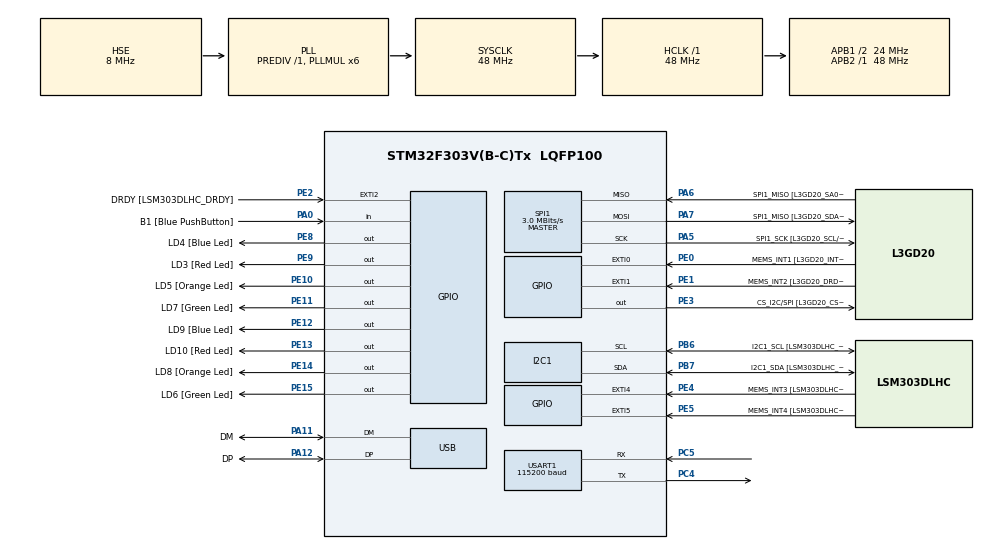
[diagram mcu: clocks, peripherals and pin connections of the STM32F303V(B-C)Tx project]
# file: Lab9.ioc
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I2C1.Timing=0x00201D2B
I2C1.Timing-I2C=0x2000090E
Mcu.Family=STM32F3
Mcu.Name=STM32F303V(B-C)Tx
Mcu.Package=LQFP100
NVIC.PriorityGroup=NVIC_PRIORITYGROUP_0
PA0.GPIO_Label=B1 [Blue PushButton]
PA0.Signal=GPIO_Input
PA11.GPIO_Label=DM
PA11.Mode=Device
PA11.Signal=USB_DM
PA12.GPIO_Label=DP
PA12.Mode=Device
PA12.Signal=USB_DP
PA13.GPIO_Label=SWDIO
PA13.Mode=Serial_Wire
PA13.Signal=SYS_JTMS-SWDIO
PA14.GPIO_Label=SWCLK
PA14.Mode=Serial_Wire
PA14.Signal=SYS_JTCK-SWCLK
PA5.GPIO_Label=SPI1_SCK [L3GD20_SCL/SPC]
PA5.Mode=Full_Duplex_Master
PA5.Signal=SPI1_SCK
PA6.GPIO_Label=SPI1_MISO [L3GD20_SA0/SDO]
PA6.Mode=Full_Duplex_Master
PA6.Signal=SPI1_MISO
PA7.GPIO_Label=SPI1_MISO [L3GD20_SDA/SDI/SDO]
PA7.Mode=Full_Duplex_Master
PA7.Signal=SPI1_MOSI
PB3.GPIO_Label=SWO
PB3.Signal=SYS_JTDO-TRACESWO
PB6.GPIO_Label=I2C1_SCL [LSM303DLHC_SCL]
PB6.GPIO_Pu=GPIO_PULLUP
PB6.Mode=I2C
PB6.Signal=I2C1_SCL
PB7.GPIO_Label=I2C1_SDA [LSM303DLHC_SDA]
PB7.GPIO_Pu=GPIO_PULLUP
PB7.Mode=I2C
PB7.Signal=I2C1_SDA
PC14-OSC32_IN.GPIO_Label=OSC32_IN
PC14-OSC32_IN.Signal=RCC_OSC32_IN
PC15-OSC32_OUT.GPIO_Label=OSC32_OUT
PC15-OSC32_OUT.Signal=RCC_OSC32_OUT
PC4.Mode=Asynchronous
PC4.Signal=USART1_TX
PC5.Mode=Asynchronous
PC5.Signal=USART1_RX
PE0.GPIO_Label=MEMS_INT1 [L3GD20_INT1]
PE0.GPIO_ModeDefaultEXTI=GPIO_MODE_EVT_RISING
PE0.Signal=GPXTI0
PE1.GPIO_Label=MEMS_INT2 [L3GD20_DRDY/INT2]
PE1.GPIO_ModeDefaultEXTI=GPIO_MODE_EVT_RISING
PE1.Signal=GPXTI1
PE10.GPIO_Label=LD5 [Orange Led]
PE10.Signal=GPIO_Output
PE11.GPIO_Label=LD7 [Green Led]
PE11.Signal=GPIO_Output
PE12.GPIO_Label=LD9 [Blue Led]
PE12.Signal=GPIO_Output
PE13.GPIO_Label=LD10 [Red Led]
PE13.Signal=GPIO_Output
PE14.GPIO_Label=LD8 [Orange Led]
PE14.Signal=GPIO_Output
PE15.GPIO_Label=LD6 [Green Led]
PE15.Signal=GPIO_Output
PE2.GPIO_Label=DRDY [LSM303DLHC_DRDY]
PE2.GPIO_ModeDefaultEXTI=GPIO_MODE_EVT_RISING
PE2.Signal=GPXTI2
PE3.GPIO_Label=CS_I2C/SPI [L3GD20_CS_I2C/SPI]
PE3.Signal=GPIO_Output
PE4.GPIO_Label=MEMS_INT3 [LSM303DLHC_INT1]
PE4.GPIO_ModeDefaultEXTI=GPIO_MODE_EVT_RISING
PE4.Signal=GPXTI4
PE5.GPIO_Label=MEMS_INT4 [LSM303DLHC_INT2]
PE5.GPIO_ModeDefaultEXTI=GPIO_MODE_EVT_RISING
PE5.Signal=GPXTI5
PE8.GPIO_Label=LD4 [Blue Led]
PE8.Signal=GPIO_Output
PE9.GPIO_Label=LD3 [Red Led]
PE9.Signal=GPIO_Output
PF0-OSC_IN.GPIO_Label=OSC_IN
PF0-OSC_IN.Mode=HSE-External-Clock-Source
PF0-OSC_IN.Signal=RCC_OSC_IN
PF1-OSC_OUT.GPIO_Label=OSC_OUT
PF1-OSC_OUT.Signal=RCC_OSC_OUT
ProjectManager.HeapSize=0x200
ProjectManager.StackSize=0x400
ProjectManager.TargetToolchain=CMake
RCC.AHBFreq_Value=48000000
RCC.APB1CLKDivider=RCC_HCLK_DIV2
RCC.APB1Freq_Value=24000000
RCC.APB1TimFreq_Value=48000000
RCC.APB2Freq_Value=48000000
RCC.APB2TimFreq_Value=48000000
RCC.CortexFreq_Value=48000000
RCC.HCLKFreq_Value=48000000
RCC.HSE_VALUE=8000000
RCC.HSI_VALUE=8000000
RCC.LSE_VALUE=32768
RCC.PLLMUL=RCC_PLL_MUL6
RCC.SYSCLKFreq_VALUE=48000000
RCC.SYSCLKSourceVirtual=RCC_SYSCLKSOURCE_PLLCLK
RCC.USBFreq_Value=48000000
SPI1.BaudRatePrescaler=SPI_BAUDRATEPRESCALER_16
SPI1.BaudRatePrescaler-Full_Duplex_Master=SPI_BAUDRATEPRESCALER_2
SPI1.CLKPhase=SPI_PHASE_2EDGE
SPI1.CLKPolarity=SPI_POLARITY_HIGH
SPI1.CalculateBaudRate=3.0 MBits/s
SPI1.CalculateBaudRate-Full_Duplex_Master=24.0 MBits/s
SPI1.DataSize=SPI_DATASIZE_8BIT
SPI1.Direction=SPI_DIRECTION_2LINES
SPI1.Mode=SPI_MODE_MASTER
SPI1.Mode-Full_Duplex_Master=SPI_MODE_MASTER
SPI1.VirtualType=VM_MASTER
USART1.BaudRate=115200
USART1.VirtualMode-Asynchronous=VM_ASYNC
board=STM32F3DISCOVERY

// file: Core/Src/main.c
/* USER CODE BEGIN Header */
/**
  ******************************************************************************
  * @file           : main.c
  * @brief          : Main program body
  ******************************************************************************
  * @attention
  *
  * Copyright (c) 2026 STMicroelectronics.
  * All rights reserved.
  *
  * This software is licensed under terms that can be found in the LICENSE file
  * in the root directory of this software component.
  * If no LICENSE file comes with this software, it is provided AS-IS.
  *
  ******************************************************************************
  */
/* USER CODE END Header */
#include "main.h"
#include <stdint.h>
#include <sys/types.h>
#include <stdio.h>

I2C_HandleTypeDef hi2c1;

SPI_HandleTypeDef hspi1;

UART_HandleTypeDef huart1;

PCD_HandleTypeDef hpcd_USB_FS;
uint16_t raw[3];
float acc[3];
float offset[3];

void SystemClock_Config(void);
static void MX_GPIO_Init(void);
static void MX_I2C1_Init(void);
static void MX_SPI1_Init(void);
static void MX_USART1_UART_Init(void);
static void MX_USB_PCD_Init(void);
/* USER CODE BEGIN PFP */
void gyro_init(void);
void gyro_set_ctrl_reg4(void);
/* USER CODE END PFP */

/* USER CODE BEGIN 0 */
float RAD_TO_DEG(float x) { return x * 57.2958f; }

/* Gyroscope SPI reader function */
void reader(uint8_t tx, uint8_t *rx) {
    HAL_GPIO_WritePin(GPIOE, GPIO_PIN_3, GPIO_PIN_RESET);
    HAL_SPI_Transmit(&hspi1, &tx, 1, HAL_MAX_DELAY);
    HAL_SPI_Receive(&hspi1, rx, 1, HAL_MAX_DELAY);
    HAL_GPIO_WritePin(GPIOE, GPIO_PIN_3, GPIO_PIN_SET);
}

/* Gyroscope control register defines */
#define CTRL_REG1 0x20
#define CTRL_REG1_VAL 0b00001111  /* PD=1 (Power on), Xen/Yen/Zen enabled */

/* Gyroscope initialization */
void gyro_init(void) {
  uint8_t tx[2] = { CTRL_REG1, CTRL_REG1_VAL };
  HAL_GPIO_WritePin(GPIOE, GPIO_PIN_3, GPIO_PIN_RESET);
  HAL_SPI_Transmit(&hspi1, tx, 2, HAL_MAX_DELAY);
  HAL_GPIO_WritePin(GPIOE, GPIO_PIN_3, GPIO_PIN_SET);
}

#define CTRL_REG4 0x23
#define CTRL_REG4_VAL 0b00000000  /* FS[1:0] = 00 => +/- 245 dps */

/* Set gyroscope control register 4 */
void gyro_set_ctrl_reg4(void) {
  uint8_t tx[2] = { CTRL_REG4, CTRL_REG4_VAL };
  HAL_GPIO_WritePin(GPIOE, GPIO_PIN_3, GPIO_PIN_RESET);
  HAL_SPI_Transmit(&hspi1, tx, 2, HAL_MAX_DELAY);
  HAL_GPIO_WritePin(GPIOE, GPIO_PIN_3, GPIO_PIN_SET);
}

/* Convert two 8-bit values to 16-bit with read bit */
uint16_t read_16bit(uint8_t OUT_X_H, uint8_t OUT_X_L) {
  return (OUT_X_H << 8) | OUT_X_L | 0x8000;
}

void Init_LSM() {
  uint8_t a = 0x67;
  uint8_t b = 0x00;
  HAL_I2C_Mem_Write(&hi2c1, 0x32, 0x20, 1, &a, 1, HAL_MAX_DELAY);
  HAL_I2C_Mem_Write(&hi2c1, 0x32, 0x23, 1, &b, 1, HAL_MAX_DELAY);
}

void Read_LSM() {
  // high[0] = xh, high[1] = yh, high[2] = zh
  // low[0] = xl, low[1] = yl, low[2] = zl
  uint8_t high[3];
  uint8_t low[3];
  HAL_I2C_Mem_Read(&hi2c1, 0x33, 0x29, 1, &high[0], 1, HAL_MAX_DELAY);
  HAL_I2C_Mem_Read(&hi2c1, 0x33, 0x28, 1, &low[0], 1, HAL_MAX_DELAY);
  HAL_I2C_Mem_Read(&hi2c1, 0x33, 0x2B, 1, &high[1], 1, HAL_MAX_DELAY);
  HAL_I2C_Mem_Read(&hi2c1, 0x33, 0x2A, 1, &low[1], 1, HAL_MAX_DELAY);
  HAL_I2C_Mem_Read(&hi2c1, 0x33, 0x2D, 1, &high[2], 1, HAL_MAX_DELAY);
  HAL_I2C_Mem_Read(&hi2c1, 0x33, 0x2C, 1, &low[2], 1, HAL_MAX_DELAY);
  raw[0] = (int16_t)(high[0] << 8) | low[0];
  raw[1] = (int16_t)(high[1] << 8) | low[1];
  raw[2] = (int16_t)(high[2] << 8) | low[2];
  acc[0] = raw[0] * 3.9f;
  acc[1] = raw[1] * 3.9f;
  acc[2] = raw[2] * 3.9f;
  acc[0] = RAD_TO_DEG(acc[0]);
  acc[1] = RAD_TO_DEG(acc[1]);
  acc[2] = RAD_TO_DEG(acc[2]);
  acc[0] -= offset[0];
  acc[1] -= offset[1];
  acc[2] -= offset[2];
}

void Print_LSM() {
  char msg[50];
  int len = snprintf(msg, sizeof(msg), "%.2f,%.2f,%.2f\r\n", acc[0], acc[1], acc[2]);
  HAL_UART_Transmit(&huart1, (uint8_t *)msg, len, HAL_MAX_DELAY);
}

void Offset_LSM() {
  uint8_t high[3], low[3];
  float temp_acc[3] = {0, 0, 0};
  for (int i = 0; i < 20; i++) {
    HAL_I2C_Mem_Read(&hi2c1, 0x33, 0x29, 1, &high[0], 1, HAL_MAX_DELAY);
    HAL_I2C_Mem_Read(&hi2c1, 0x33, 0x28, 1, &low[0], 1, HAL_MAX_DELAY);
    HAL_I2C_Mem_Read(&hi2c1, 0x33, 0x2B, 1, &high[1], 1, HAL_MAX_DELAY);
    HAL_I2C_Mem_Read(&hi2c1, 0x33, 0x2A, 1, &low[1], 1, HAL_MAX_DELAY);
    HAL_I2C_Mem_Read(&hi2c1, 0x33, 0x2D, 1, &high[2], 1, HAL_MAX_DELAY);
    HAL_I2C_Mem_Read(&hi2c1, 0x33, 0x2C, 1, &low[2], 1, HAL_MAX_DELAY);
    temp_acc[0] += ((int16_t)(high[0] << 8) | low[0]) * 3.9f;
    temp_acc[1] += ((int16_t)(high[1] << 8) | low[1]) * 3.9f;
    temp_acc[2] += ((int16_t)(high[2] << 8) | low[2]) * 3.9f;
    HAL_Delay(10);
  }
  offset[0] = temp_acc[0] / 20.0f;
  offset[1] = temp_acc[1] / 20.0f;
  offset[2] = temp_acc[2] / 20.0f;
}

/* USER CODE END 0 */

int main(void)
{

  /* MCU Configuration--------------------------------------------------------*/

  /* Reset of all peripherals, Initializes the Flash interface and the Systick. */
  HAL_Init();

  /* Configure the system clock */
  SystemClock_Config();

  /* Initialize all configured peripherals */
  MX_GPIO_Init();
  MX_I2C1_Init();
  MX_SPI1_Init();
  MX_USART1_UART_Init();
  MX_USB_PCD_Init();
  /* USER CODE BEGIN 2 */
  Init_LSM();
  Offset_LSM();
  gyro_init();
  gyro_set_ctrl_reg4();
  /* USER CODE END 2 */

  /* Infinite loop */
  while (1)
  {
    /* Read accelerometer */
    Read_LSM();
    Print_LSM();

    /* Read gyroscope */
    uint8_t xH, xL, yH, yL, zH, zL, temp_raw;
    reader(0x80 | 0x29, &xH);
    reader(0x80 | 0x28, &xL);
    reader(0x80 | 0x2B, &yH);
    reader(0x80 | 0x2A, &yL);
    reader(0x80 | 0x2D, &zH);
    reader(0x80 | 0x2C, &zL);
    reader(0x80 | 0x26, &temp_raw);

    int16_t x = read_16bit(xH, xL);
    int16_t y = read_16bit(yH, yL);
    int16_t z = read_16bit(zH, zL);

    float x_dps = x * 0.00875f;
    float y_dps = y * 0.00875f;
    float z_dps = z * 0.00875f;
    float temp_display = -(temp_raw) + 43.0f;

    char buffer[100];
    int n = snprintf(buffer, sizeof(buffer), "%.2f,%.2f,%.2f,%.2f\r\n", temp_display, x_dps, y_dps, z_dps);
    if (n > 0) {
      HAL_UART_Transmit(&huart1, (uint8_t*)buffer, n, HAL_MAX_DELAY);
    }

    HAL_Delay(100);

  }
}

void SystemClock_Config(void)
{
  RCC_OscInitTypeDef RCC_OscInitStruct = {0};
  RCC_ClkInitTypeDef RCC_ClkInitStruct = {0};
  RCC_PeriphCLKInitTypeDef PeriphClkInit = {0};

  /** Initializes the RCC Oscillators according to the specified parameters
  * in the RCC_OscInitTypeDef structure.
  */
  RCC_OscInitStruct.OscillatorType = RCC_OSCILLATORTYPE_HSI|RCC_OSCILLATORTYPE_HSE;
  RCC_OscInitStruct.HSEState = RCC_HSE_BYPASS;
  RCC_OscInitStruct.HSEPredivValue = RCC_HSE_PREDIV_DIV1;
  RCC_OscInitStruct.HSIState = RCC_HSI_ON;
  RCC_OscInitStruct.HSICalibrationValue = RCC_HSICALIBRATION_DEFAULT;
  RCC_OscInitStruct.PLL.PLLState = RCC_PLL_ON;
  RCC_OscInitStruct.PLL.PLLSource = RCC_PLLSOURCE_HSE;
  RCC_OscInitStruct.PLL.PLLMUL = RCC_PLL_MUL6;
  if (HAL_RCC_OscConfig(&RCC_OscInitStruct) != HAL_OK)
  {
    Error_Handler();
  }

  /** Initializes the CPU, AHB and APB buses clocks
  */
  RCC_ClkInitStruct.ClockType = RCC_CLOCKTYPE_HCLK|RCC_CLOCKTYPE_SYSCLK
                              |RCC_CLOCKTYPE_PCLK1|RCC_CLOCKTYPE_PCLK2;
  RCC_ClkInitStruct.SYSCLKSource = RCC_SYSCLKSOURCE_PLLCLK;
  RCC_ClkInitStruct.AHBCLKDivider = RCC_SYSCLK_DIV1;
  RCC_ClkInitStruct.APB1CLKDivider = RCC_HCLK_DIV2;
  RCC_ClkInitStruct.APB2CLKDivider = RCC_HCLK_DIV1;

  if (HAL_RCC_ClockConfig(&RCC_ClkInitStruct, FLASH_LATENCY_1) != HAL_OK)
  {
    Error_Handler();
  }
  PeriphClkInit.PeriphClockSelection = RCC_PERIPHCLK_USB|RCC_PERIPHCLK_USART1
                              |RCC_PERIPHCLK_I2C1;
  PeriphClkInit.Usart1ClockSelection = RCC_USART1CLKSOURCE_PCLK2;
  PeriphClkInit.I2c1ClockSelection = RCC_I2C1CLKSOURCE_HSI;
  PeriphClkInit.USBClockSelection = RCC_USBCLKSOURCE_PLL;
  if (HAL_RCCEx_PeriphCLKConfig(&PeriphClkInit) != HAL_OK)
  {
    Error_Handler();
  }
}

static void MX_I2C1_Init(void)
{

  hi2c1.Instance = I2C1;
  hi2c1.Init.Timing = 0x00201D2B;
  hi2c1.Init.OwnAddress1 = 0;
  hi2c1.Init.AddressingMode = I2C_ADDRESSINGMODE_7BIT;
  hi2c1.Init.DualAddressMode = I2C_DUALADDRESS_DISABLE;
  hi2c1.Init.OwnAddress2 = 0;
  hi2c1.Init.OwnAddress2Masks = I2C_OA2_NOMASK;
  hi2c1.Init.GeneralCallMode = I2C_GENERALCALL_DISABLE;
  hi2c1.Init.NoStretchMode = I2C_NOSTRETCH_DISABLE;
  if (HAL_I2C_Init(&hi2c1) != HAL_OK)
  {
    Error_Handler();
  }

  /** Configure Analogue filter
  */
  if (HAL_I2CEx_ConfigAnalogFilter(&hi2c1, I2C_ANALOGFILTER_ENABLE) != HAL_OK)
  {
    Error_Handler();
  }

  /** Configure Digital filter
  */
  if (HAL_I2CEx_ConfigDigitalFilter(&hi2c1, 0) != HAL_OK)
  {
    Error_Handler();
  }

}

static void MX_SPI1_Init(void)
{

  /* SPI1 parameter configuration*/
  hspi1.Instance = SPI1;
  hspi1.Init.Mode = SPI_MODE_MASTER;
  hspi1.Init.Direction = SPI_DIRECTION_2LINES;
  hspi1.Init.DataSize = SPI_DATASIZE_8BIT;
  hspi1.Init.CLKPolarity = SPI_POLARITY_HIGH;
  hspi1.Init.CLKPhase = SPI_PHASE_2EDGE;
  hspi1.Init.NSS = SPI_NSS_SOFT;
  hspi1.Init.BaudRatePrescaler = SPI_BAUDRATEPRESCALER_16;
  hspi1.Init.FirstBit = SPI_FIRSTBIT_MSB;
  hspi1.Init.TIMode = SPI_TIMODE_DISABLE;
  hspi1.Init.CRCCalculation = SPI_CRCCALCULATION_DISABLE;
  hspi1.Init.CRCPolynomial = 7;
  hspi1.Init.CRCLength = SPI_CRC_LENGTH_DATASIZE;
  hspi1.Init.NSSPMode = SPI_NSS_PULSE_DISABLE;
  if (HAL_SPI_Init(&hspi1) != HAL_OK)
  {
    Error_Handler();
  }

}

static void MX_USART1_UART_Init(void)
{

  huart1.Instance = USART1;
  huart1.Init.BaudRate = 115200;
  huart1.Init.WordLength = UART_WORDLENGTH_8B;
  huart1.Init.StopBits = UART_STOPBITS_1;
  huart1.Init.Parity = UART_PARITY_NONE;
  huart1.Init.Mode = UART_MODE_TX_RX;
  huart1.Init.HwFlowCtl = UART_HWCONTROL_NONE;
  huart1.Init.OverSampling = UART_OVERSAMPLING_16;
  huart1.Init.OneBitSampling = UART_ONE_BIT_SAMPLE_DISABLE;
  huart1.AdvancedInit.AdvFeatureInit = UART_ADVFEATURE_NO_INIT;
  if (HAL_UART_Init(&huart1) != HAL_OK)
  {
    Error_Handler();
  }

}

static void MX_USB_PCD_Init(void)
{

  hpcd_USB_FS.Instance = USB;
  hpcd_USB_FS.Init.dev_endpoints = 8;
  hpcd_USB_FS.Init.speed = PCD_SPEED_FULL;
  hpcd_USB_FS.Init.phy_itface = PCD_PHY_EMBEDDED;
  hpcd_USB_FS.Init.low_power_enable = DISABLE;
  hpcd_USB_FS.Init.battery_charging_enable = DISABLE;
  if (HAL_PCD_Init(&hpcd_USB_FS) != HAL_OK)
  {
    Error_Handler();
  }

}

static void MX_GPIO_Init(void)
{
  GPIO_InitTypeDef GPIO_InitStruct = {0};

  /* GPIO Ports Clock Enable */
  __HAL_RCC_GPIOE_CLK_ENABLE();
  __HAL_RCC_GPIOC_CLK_ENABLE();
  __HAL_RCC_GPIOF_CLK_ENABLE();
  __HAL_RCC_GPIOA_CLK_ENABLE();
  __HAL_RCC_GPIOB_CLK_ENABLE();

  /*Configure GPIO pin Output Level */
  HAL_GPIO_WritePin(GPIOE, CS_I2C_SPI_Pin|LD4_Pin|LD3_Pin|LD5_Pin
                          |LD7_Pin|LD9_Pin|LD10_Pin|LD8_Pin
                          |LD6_Pin, GPIO_PIN_RESET);

  /*Configure GPIO pins : DRDY_Pin MEMS_INT3_Pin MEMS_INT4_Pin MEMS_INT1_Pin
                           MEMS_INT2_Pin */
  GPIO_InitStruct.Pin = DRDY_Pin|MEMS_INT3_Pin|MEMS_INT4_Pin|MEMS_INT1_Pin
                          |MEMS_INT2_Pin;
  GPIO_InitStruct.Mode = GPIO_MODE_EVT_RISING;
  GPIO_InitStruct.Pull = GPIO_NOPULL;
  HAL_GPIO_Init(GPIOE, &GPIO_InitStruct);

  /*Configure GPIO pins : CS_I2C_SPI_Pin LD4_Pin LD3_Pin LD5_Pin
                           LD7_Pin LD9_Pin LD10_Pin LD8_Pin
                           LD6_Pin */
  GPIO_InitStruct.Pin = CS_I2C_SPI_Pin|LD4_Pin|LD3_Pin|LD5_Pin
                          |LD7_Pin|LD9_Pin|LD10_Pin|LD8_Pin
                          |LD6_Pin;
  GPIO_InitStruct.Mode = GPIO_MODE_OUTPUT_PP;
  GPIO_InitStruct.Pull = GPIO_NOPULL;
  GPIO_InitStruct.Speed = GPIO_SPEED_FREQ_LOW;
  HAL_GPIO_Init(GPIOE, &GPIO_InitStruct);

  /*Configure GPIO pin : B1_Pin */
  GPIO_InitStruct.Pin = B1_Pin;
  GPIO_InitStruct.Mode = GPIO_MODE_INPUT;
  GPIO_InitStruct.Pull = GPIO_NOPULL;
  HAL_GPIO_Init(B1_GPIO_Port, &GPIO_InitStruct);

}

void Error_Handler(void)
{
  __disable_irq();
  while (1)
  {
  }
}
